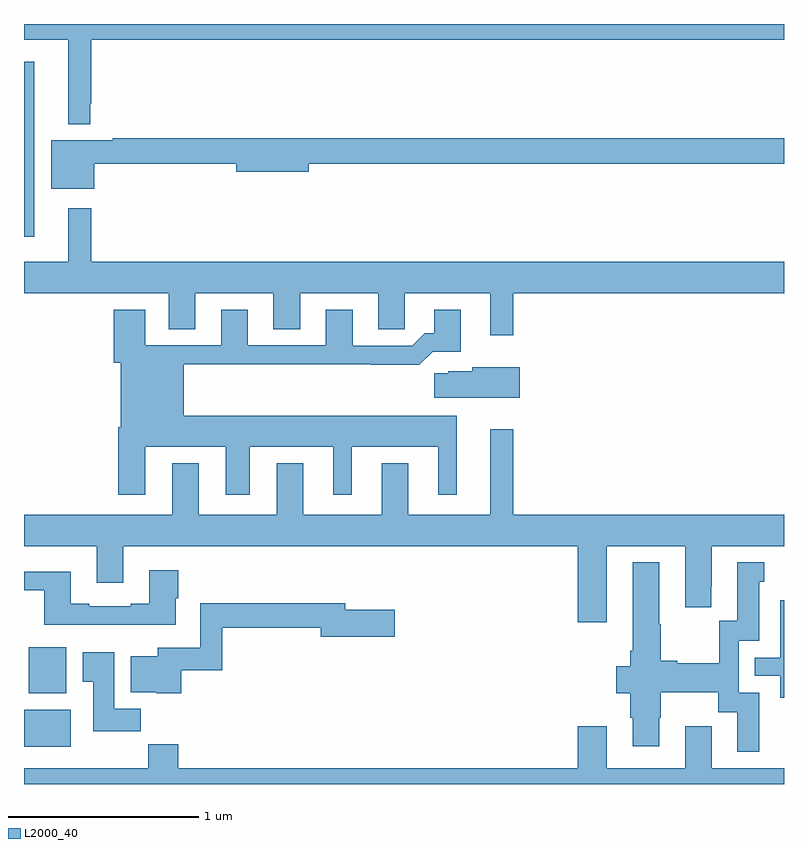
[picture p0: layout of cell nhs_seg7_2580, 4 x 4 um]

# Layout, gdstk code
import gdstk
lib = gdstk.Library(unit=1e-6, precision=1e-09)
def R(c, l, rs):  # rectangles x0, y0, x1, y1
    for r in rs: c.add(gdstk.rectangle(r[:2], r[2:], *l))
def P(c, l, *ps):  # polygons
    for p in ps: c.add(gdstk.Polygon(p, *l))
L2000_40 = (2000, 40)

nhs_seg7_2580 = lib.new_cell('nhs_seg7_2580')
R(nhs_seg7_2580, L2000_40, [(279,1030.196,279.247,1030.39), (279.026,1030.478,279.223,1030.72), (279,1032.881,279.055,1033.801)])
P(nhs_seg7_2580, L2000_40, [(279.348,1033.579),(279.355,1033.579),(279.355,1033.916),(283,1033.916),(283,1034),(279,1034),(279,1033.916),(279.233,1033.916),(279.233,1033.472),(279.348,1033.472)],
  [(279.37,1033.264),(280.118,1033.264),(280.118,1033.222),(280.498,1033.222),(280.498,1033.264),(283,1033.264),(283,1033.4),(279.466,1033.4),(279.466,1033.387),(279.143,1033.387),(279.143,1033.133),(279.37,1033.133)],
  [(281.575,1032.584),(283,1032.584),(283,1032.748),(279.355,1032.748),(279.355,1033.03),(279.233,1033.03),(279.233,1032.748),(279,1032.748),(279,1032.584),(279.761,1032.584),(279.761,1032.394),(279.901,1032.394),(279.901,1032.584),(280.313,1032.584),(280.313,1032.394),(280.453,1032.394),(280.453,1032.584),(280.865,1032.584),(280.865,1032.394),(281.004,1032.394),(281.004,1032.584),(281.453,1032.584),(281.453,1032.363),(281.575,1032.363)],
  [(279.637,1031.774),(280.061,1031.774),(280.061,1031.523),(280.189,1031.523),(280.189,1031.774),(280.628,1031.774),(280.628,1031.523),(280.726,1031.523),(280.726,1031.774),(281.18,1031.774),(281.18,1031.523),(281.278,1031.523),(281.278,1031.938),(279.841,1031.938),(279.841,1032.208),(280.825,1032.208),(280.825,1032.206),(281.081,1032.206),(281.151,1032.276),(281.299,1032.276),(281.299,1032.496),(281.159,1032.496),(281.159,1032.373),(281.11,1032.373),(281.043,1032.306),(280.729,1032.306),(280.729,1032.496),(280.589,1032.496),(280.589,1032.309),(280.177,1032.309),(280.177,1032.496),(280.037,1032.496),(280.037,1032.309),(279.637,1032.309),(279.637,1032.496),(279.473,1032.496),(279.473,1032.216),(279.509,1032.216),(279.509,1031.878),(279.497,1031.878),(279.497,1031.523),(279.637,1031.523)],
  [(281.608,1032.193),(281.358,1032.193),(281.358,1032.172),(281.232,1032.172),(281.232,1032.161),(281.16,1032.161),(281.16,1032.032),(281.608,1032.032)],
  [(282.067,1031.252),(282.479,1031.252),(282.479,1030.929),(282.616,1030.929),(282.616,1031.041),(282.619,1031.041),(282.619,1031.252),(283,1031.252),(283,1031.416),(281.575,1031.416),(281.575,1031.866),(281.453,1031.866),(281.453,1031.416),(281.023,1031.416),(281.023,1031.689),(280.883,1031.689),(280.883,1031.416),(280.471,1031.416),(280.471,1031.689),(280.331,1031.689),(280.331,1031.416),(279.919,1031.416),(279.919,1031.689),(279.779,1031.689),(279.779,1031.416),(279,1031.416),(279,1031.252),(279.383,1031.252),(279.383,1031.058),(279.523,1031.058),(279.523,1031.252),(281.915,1031.252),(281.915,1030.851),(282.067,1030.851)],
  [(282.871,1030.479),(282.762,1030.479),(282.762,1030.755),(282.871,1030.755),(282.871,1031.064),(282.895,1031.064),(282.895,1031.167),(282.755,1031.167),(282.755,1030.86),(282.659,1030.86),(282.659,1030.636),(282.439,1030.636),(282.439,1030.649),(282.351,1030.649),(282.351,1030.841),(282.343,1030.841),(282.343,1031.167),(282.203,1031.167),(282.203,1030.702),(282.191,1030.702),(282.191,1030.619),(282.116,1030.619),(282.116,1030.477),(282.191,1030.477),(282.191,1030.35),(282.203,1030.35),(282.203,1030.2),(282.343,1030.2),(282.343,1030.35),(282.351,1030.35),(282.351,1030.484),(282.654,1030.484),(282.654,1030.378),(282.755,1030.378),(282.755,1030.17),(282.871,1030.17)],
  [(279.799,1030.977),(279.812,1030.977),(279.812,1031.125),(279.659,1031.125),(279.659,1030.948),(279.563,1030.948),(279.563,1030.935),(279.343,1030.935),(279.343,1030.948),(279.247,1030.948),(279.247,1031.116),(279,1031.116),(279,1031.019),(279.107,1031.019),(279.107,1030.838),(279.799,1030.838)],
  [(283,1030.968),(282.981,1030.968),(282.981,1030.665),(282.847,1030.665),(282.847,1030.569),(282.981,1030.569),(282.981,1030.455),(283,1030.455)],
  [(279.827,1030.6),(280.043,1030.6),(280.043,1030.822),(280.562,1030.822),(280.562,1030.775),(280.951,1030.775),(280.951,1030.917),(280.69,1030.917),(280.69,1030.951),(279.927,1030.951),(279.927,1030.716),(279.704,1030.716),(279.704,1030.672),(279.563,1030.672),(279.563,1030.484),(279.696,1030.484),(279.696,1030.478),(279.827,1030.478)],
  [(279.614,1030.396),(279.475,1030.396),(279.475,1030.693),(279.308,1030.693),(279.308,1030.537),(279.365,1030.537),(279.365,1030.278),(279.614,1030.278)],
  [(283,1030.084),(282.619,1030.084),(282.619,1030.303),(282.479,1030.303),(282.479,1030.084),(282.067,1030.084),(282.067,1030.303),(281.915,1030.303),(281.915,1030.084),(279.812,1030.084),(279.812,1030.208),(279.655,1030.208),(279.655,1030.084),(279,1030.084),(279,1030),(283,1030)])

lib.write_gds('nhs_seg7_2580.gds')
